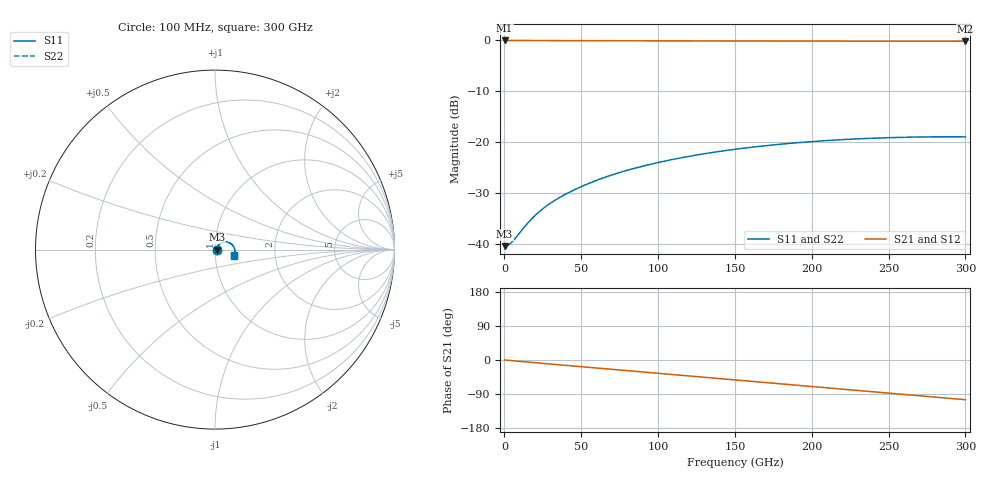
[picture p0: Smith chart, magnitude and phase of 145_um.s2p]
! Created with skrf (http://scikit-rf.org).
# Hz S RI R 50.0
!freq ReS11 ImS11 ReS21 ImS21 ReS12 ImS12 ReS22 ImS22
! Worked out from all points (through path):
!   3000 points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, 100 MHz to 300 GHz, reference 50 ohm
!   highest |S21| = -0.08 dB at 100 MHz (marker M1); lowest = -0.2 dB at 300 GHz (marker M2)
!   group delay of S21, straight-line fit = 968 fs
!   lowest |S11| = -40.4 dB at 100 MHz (marker M3), VSWR 1.02, Z = 51 + j0.00785 ohm
!   |S11| at or under -10 dB: start of sweep to end of sweep
!   |S22| runs from -40.4 to -18.9 dB; largest |S21 - S12| = 0.00056
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1e8  0.00955 7.7e-05  0.9906 -0.000629  0.9905 -0.000629  0.00957 7.62e-05
2.4e9  0.00961 0.00185  0.9904 -0.0151  0.9904 -0.0151  0.00963 0.00183
4.8e9  0.0098 0.00367  0.9899 -0.0302  0.9899 -0.0301  0.00981 0.00363
1.68e10  0.0122 0.012  0.9833 -0.1043  0.9834 -0.1043  0.0122 0.0119
2.1e10  0.0134 0.0145  0.9797 -0.1297  0.9797 -0.1298  0.0134 0.0144
2.55e10  0.0148 0.017  0.9751 -0.1567  0.9751 -0.1567  0.0148 0.0169
3.06e10  0.0164 0.0196  0.9692 -0.1869  0.9692 -0.1869  0.0164 0.0194
3.63e10  0.0183 0.0223  0.9616 -0.2205  0.9616 -0.2205  0.0183 0.0221
4.28e10  0.0206 0.0252  0.9516 -0.2584  0.9516 -0.2584  0.0206 0.025
5.01e10  0.0233 0.0283  0.9385 -0.3004  0.9386 -0.3004  0.0233 0.0281
6.1e10  0.0278 0.0325  0.9156 -0.3619  0.9156 -0.3619  0.0278 0.0322
7.26e10  0.0331 0.0362  0.8869 -0.4252  0.8869 -0.4252  0.0331 0.0358
8.56e10  0.0395 0.0395  0.8497 -0.4934  0.8498 -0.4935  0.0394 0.039
1.001e11  0.0471 0.042  0.8022 -0.5659  0.8022 -0.566  0.047 0.0415
1.237e11  0.0601 0.0434  0.7119 -0.6737  0.712 -0.6738  0.06 0.0427
1.501e11  0.0746 0.0408  0.5943 -0.7776  0.5944 -0.7777  0.0745 0.04
1.755e11  0.0875 0.0343  0.4673 -0.8584  0.4673 -0.8586  0.0874 0.0334
2.001e11  0.0981 0.0247  0.334 -0.9174  0.334 -0.9176  0.0979 0.0237
2.254e11  0.1061 0.0121  0.1896 -0.9567  0.1895 -0.9569  0.1059 0.011
2.501e11  0.1104 -0.00204  0.0443 -0.9736  0.0442 -0.9739  0.1103 -0.00322
2.753e11  0.111 -0.0174  -0.1046 -0.9685  -0.1048 -0.9687  0.1109 -0.0187
3e11  0.1077 -0.0322  -0.2489 -0.9413  -0.2492 -0.9418  0.1076 -0.0336
